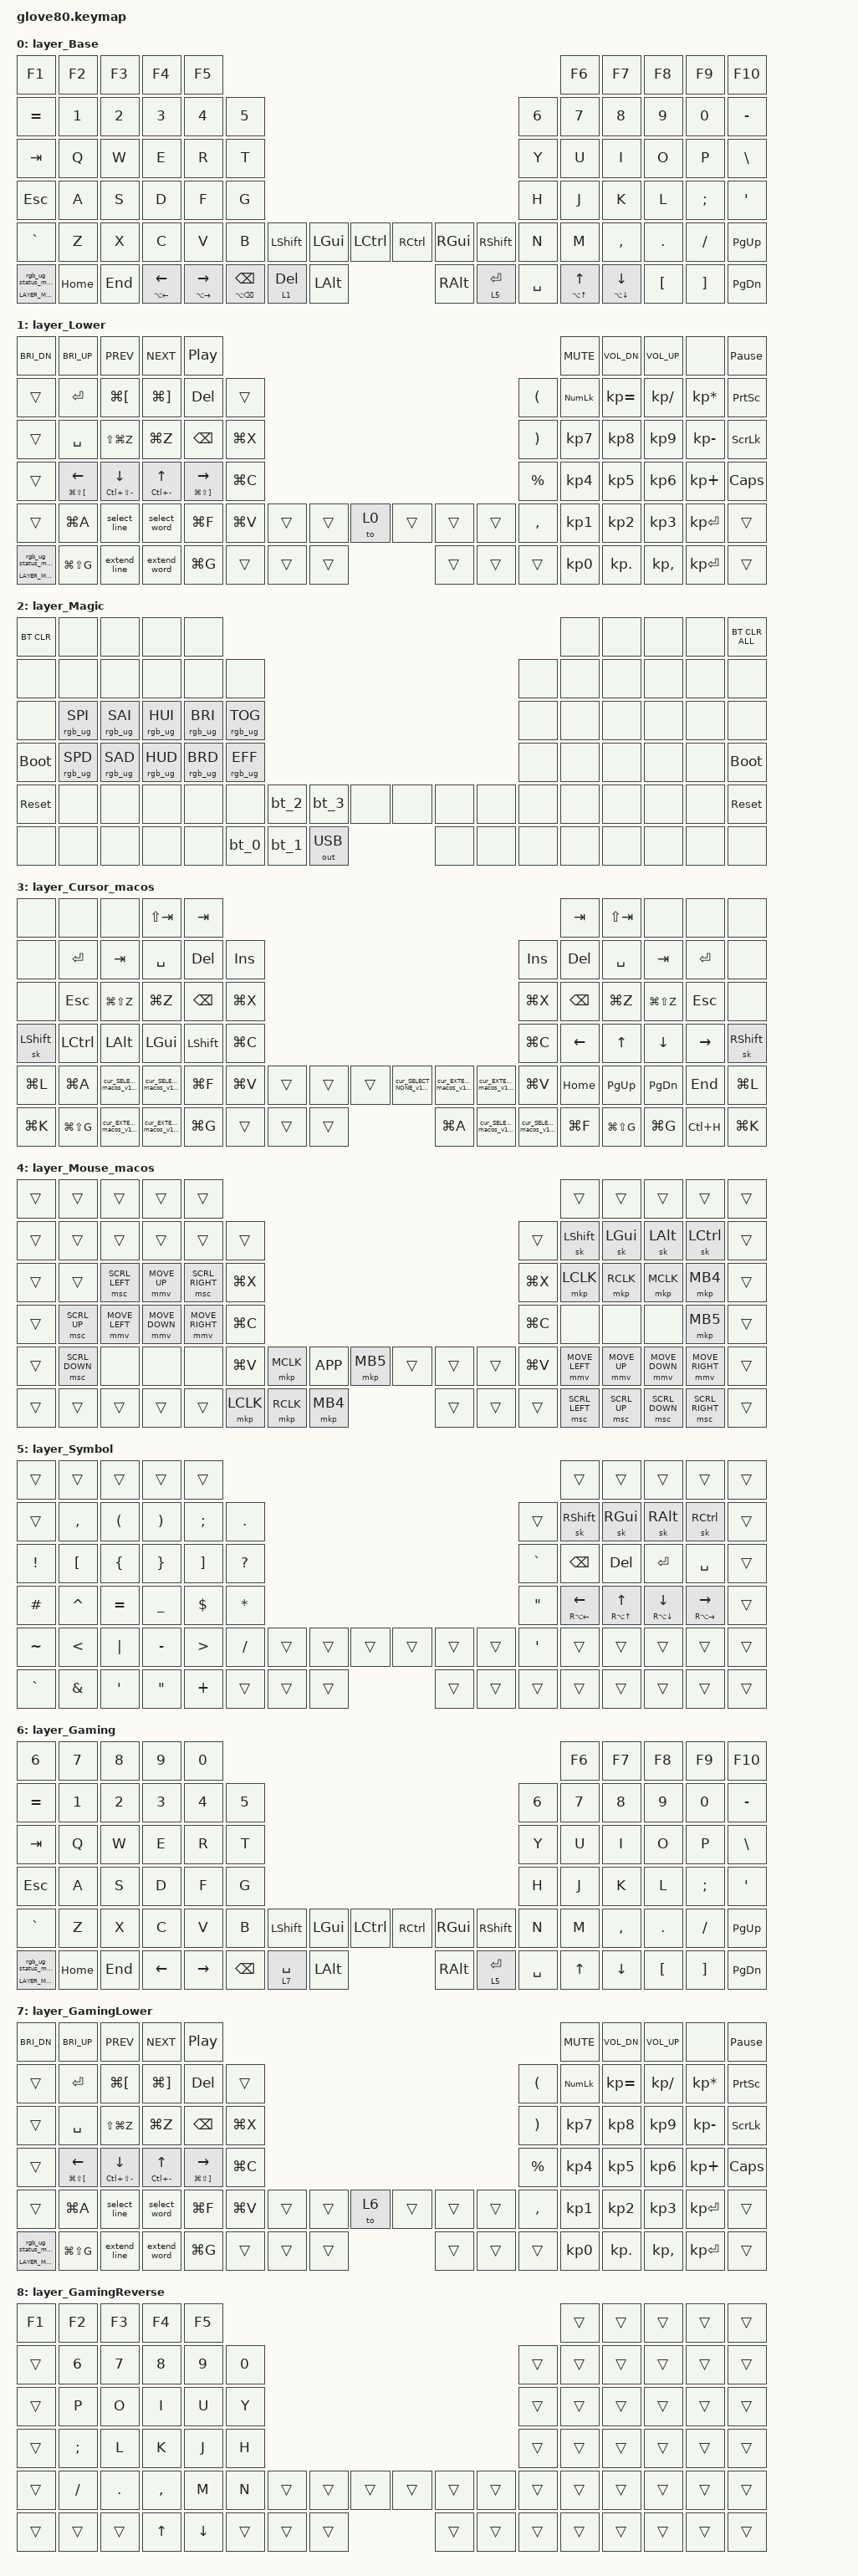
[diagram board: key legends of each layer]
/*
 * Copyright (c) 2020 The ZMK Contributors
 * Copyright (c) 2025 Innaworks Development Limited, trading as MoErgo
 *
 * SPDX-License-Identifier: MIT
 */


/* THIS FILE WAS GENERATED BY GLOVE80 LAYOUT EDITOR
 *
 * This file was generated automatically. You may or may not want to
 * edit it directly.
 */

#include <behaviors.dtsi>
/* Include all behavior includes needed */
#include <dt-bindings/zmk/outputs.h>
#include <dt-bindings/zmk/keys.h>
#include <dt-bindings/zmk/bt.h>
#include <dt-bindings/zmk/rgb.h>

/* On demand includes */
#include <dt-bindings/zmk/pointing.h>

/* Helper Macros, based on https://github.com/urob/zmk-helpers/ */

#pragma once

#define ZMK_HELPER_STRINGIFY(x) #x

// Preprocessor mechanism to overload macros, cf. https://stackoverflow.com/a/27051616/6114651
#define VARGS_(_10, _9, _8, _7, _6, _5, _4, _3, _2, _1, N, ...) N
#define VARGS(...) VARGS_(__VA_ARGS__, 10, 9, 8, 7, 6, 5, 4, 3, 2, 1, 0)
#define CONCAT_(a, b) a##b
#define CONCAT(a, b) CONCAT_(a, b)

#define ZMK_BEHAVIOR_CORE_tap_dance  \
    compatible = "zmk,behavior-tap-dance"; \
    #binding-cells = <0>

#define ZMK_BEHAVIOR(name, type, ...) \
    name: name { \
        ZMK_BEHAVIOR_CORE_ ## type; \
        __VA_ARGS__ \
    };

#define ZMK_TAP_DANCE(name, ...) \
    ZMK_BEHAVIOR(name, tap_dance, __VA_ARGS__)

#define ZMK_TD_LAYER(name, layer) \
    ZMK_TAP_DANCE(name, \
        tapping-term-ms = <200>; \
        bindings = <&mo layer>, <&to layer>; \
)

/* Automatically generated layer name #define */
#define LAYER_Base 0
#define LAYER_Lower 1
#define LAYER_Magic 2
#define LAYER_Cursor_macos 3
#define LAYER_Mouse_macos 4
#define LAYER_Symbol 5
#define LAYER_Gaming 6
#define LAYER_GamingLower 7
#define LAYER_GamingReverse 8

/* To deal with the situation where there is no Lower layer, to keep &lower happy */
#ifndef LAYER_Lower
#define LAYER_Lower 0
#endif

/* Custom Device-tree */
/* Empty underglow layer definition (for copy-paste)
        mylayer {
            bindings = <
                ______ ______ ______ ______ ______                                                          ______ ______ ______ ______ ______
                ______ ______ ______ ______ ______ ______                                            ______ ______ ______ ______ ______ ______
                ______ ______ ______ ______ ______ ______                                            ______ ______ ______ ______ ______ ______
                ______ ______ ______ ______ ______ ______                                            ______ ______ ______ ______ ______ ______
                ______ ______ ______ ______ ______ ______ ______ ______ ______  ______ ______ ______ ______ ______ ______ ______ ______ ______
                ______ ______ ______ ______ ______        ______ ______ ______  ______ ______ ______        ______ ______ ______ ______ ______
                >;
            layer-id = <LAYER_Name>;
        };
*/
#include <dt-bindings/zmk/rgb_colors.h>
/ {
    underglow-layer {
        compatible  = "zmk,underglow-layer";
        //
        // color definitions from QMK
        // https://github.com/qmk/qmk_firmware/blob/master/quantum/color.h
        //
        #define RGB_AZURE     0x99F5FF // #99F5FF
        #define RGB_BLACK     0x000000 // #000000
        #define RGB_GRAY      0x777777 //#777777
        #define RGB_BLUE      0x0000FF //#27274b
        #define RGB_BASE      0x0000FF //#27274b 
        // #define RGB_LBASE     0x4c4c9a //#4c4c9a
        #define RGB_LBASE     0x7A00FF // #7A00FF
        #define RGB_CHARTRSE  0x80FF00 // #80FF00
        #define RGB_CORAL     0xFF7C4D // #FF7C4D
        #define RGB_CYAN      0x00FFFF // #00FFFF
        #define RGB_GOLD      0xFFD900 // #FFD900
        #define RGB_GOLDNROD  0xD9A521 // #D9A521
        #define RGB_GREEN     0x00FF00 // #00FF00
        #define RGB_MAGENTA   0xFF00FF // #FF00FF
        #define RGB_ORANGE    0xFF8000 // #FF8000
        #define RGB_PINK      0xFF80BF // #FF80BF
        #define RGB_PURPLE    0x7A00FF // #7A00FF
        #define RGB_RED       0xFF0000 // #FF0000
        #define RGB_SPRINGRN  0x00FF80 // #00FF80
        #define RGB_TEAL      0x008080 // #008080
        #define RGB_TURQUOIS  0x476E6A // #476E6A
        #define RGB_WHITE     0xFFFFFF // #FFFFFF
        #define RGB_YELLOW    0xFFFF00 // #FFFF00

        //
        // color definitions from MoErgo
        // https://github.com/moergo-sc/zmk/blob/aca523dfce9b6447ffd19d833b791d44f1f286de/app/src/rgb_underglow.c#L259-L265
        //
        #define RGB_DULL_GRN  0x00ff68 // #00ff68
        #define RGB_LILAC     0x6b1fce // #6b1fce

        //
        // underglow for the colors above
        //
        #define AZURE     &ug RGB_AZURE
        #define BLACK     &ug RGB_BLACK
        #define BLUE      &ug RGB_BLUE
        #define CHARTRSE  &ug RGB_CHARTRSE
        #define CORAL     &ug RGB_CORAL
        #define CYAN      &ug RGB_CYAN
        #define GOLD      &ug RGB_GOLD
        #define GOLDNROD  &ug RGB_GOLDNROD
        #define GRAY      &ug RGB_GRAY
        #define GREEN     &ug RGB_GREEN
        #define MAGENTA   &ug RGB_MAGENTA
        #define ORANGE    &ug RGB_ORANGE
        #define PINK      &ug RGB_PINK
        #define PURPLE    &ug RGB_PURPLE
        #define RED       &ug RGB_RED
        #define SPRINGRN  &ug RGB_SPRINGRN
        #define TEAL      &ug RGB_TEAL
        #define TURQUOIS  &ug RGB_TURQUOIS
        #define WHITE     &ug RGB_WHITE
        #define YELLOW    &ug RGB_YELLOW
        #define ________  &ug RGB_BLACK
        #define DULL_GRN  &ug RGB_DULL_GRN
        #define LILAC     &ug RGB_LILAC
        #define BASE      &ug RGB_BASE
        #define LBASE     &ug RGB_LBASE

        //
        // colors for mouse speed scaling in Mouse layers
        //
        #define MSE_FAST GOLD // #FFD900
        #define MSE_WARP CHARTRSE // #80FF00
        #define MSE_SLOW CORAL // #FF7C4D

        #define ARROW ORANGE // #FF8000
        #define NAVIGATE PINK // #FF80BF

        //
        // colors for mouse speed scaling in Mouse layers
        //
        #define SET_MORE &ug 0xFFFF00 // #FFFF00
        #define SET_LESS &ug 0x644d14 // #644d14
        #define SET_NONE GOLD // #FFD900

        #define SET_TOGL &ug 0x00FF00 // #00FF00
        #define SET_NEXT &ug 0x00FFAA // #00FFAA
        #define SET_PREV &ug 0xAAFF00 // #AAFF00
        

        //
        // underglow for keyboard locks on the Base layer
        //
        #define UGSL_BAS &ug_sl RGB_LILAC RGB_ORANGE // ScrollLock COLOR_OFF COLOR_ON
        #define UGNL_BAS &ug_nl RGB_LILAC RGB_ORANGE // NumLock    COLOR_OFF COLOR_ON
        #define UGCL_BAS &ug_cl RGB_LILAC RGB_ORANGE // CapsLock   COLOR_OFF COLOR_ON

        //
        // underglow for keyboard locks on the System layer
        //
        #define UGSL_SYS &ug_sl RGB_BLACK RGB_ORANGE // ScrollLock COLOR_OFF COLOR_ON
        #define UGNL_SYS &ug_nl RGB_BLACK RGB_ORANGE // NumLock    COLOR_OFF COLOR_ON
        #define UGCL_SYS &ug_cl RGB_BLACK RGB_ORANGE // CapsLock   COLOR_OFF COLOR_ON
        
        Base {
            bindings = <
              TURQUOIS TURQUOIS TURQUOIS TURQUOIS TURQUOIS                                                                          TURQUOIS TURQUOIS TURQUOIS TURQUOIS TURQUOIS
              CORAL    CORAL    CORAL    CORAL    CORAL    CORAL                                                           CORAL    CORAL    CORAL    CORAL    CORAL    CORAL   
              WHITE    LBASE    LBASE    LBASE    LBASE    LBASE                                                           LBASE    LBASE    LBASE    LBASE    LBASE    LBASE   
              RED      BASE     BASE     BASE     BASE     LBASE                                                           LBASE    BASE     BASE     BASE     BASE     LBASE   
              LBASE    LBASE    LBASE    LBASE    LBASE    LBASE    YELLOW   MAGENTA  GREEN     GREEN    MAGENTA  YELLOW   LBASE    LBASE    LBASE    LBASE    LBASE    NAVIGATE
              LILAC    NAVIGATE NAVIGATE ARROW    ARROW             RED      RED      CYAN      CYAN     WHITE    WHITE             ARROW    ARROW    LBASE    LBASE    NAVIGATE
            >;
            layer-id = <0>;
        };

        Lower {
            bindings = <
              SET_LESS SET_MORE SET_PREV SET_NEXT SET_TOGL                                                                          SET_NONE SET_LESS SET_MORE ________ LBASE   
              ________ WHITE    LBASE    LBASE    RED      ________                                                        LBASE    UGNL_BAS LBASE    LBASE    LBASE    LBASE   
              ________ WHITE    LBASE    LBASE    RED      CHARTRSE                                                        LBASE    CHARTRSE CHARTRSE CHARTRSE LBASE    UGSL_BAS
              ________ ARROW    ARROW    ARROW    ARROW    CHARTRSE                                                        LBASE    CHARTRSE CHARTRSE CHARTRSE LBASE    UGCL_BAS
              ________ LBASE    LBASE    LBASE    LBASE    CHARTRSE ________ ________ ________  ________ ________ ________ LBASE    CHARTRSE CHARTRSE CHARTRSE WHITE    ________
              LILAC    LBASE    LBASE    LBASE    LBASE             ________ DULL_GRN ________  ________ ________ ________          CHARTRSE LBASE    LBASE    WHITE    ________
            >;
            layer-id = <LAYER_Lower>;
        };

        Symbol {
            bindings = <
              ________ ________ ________ ________ ________                                                                          ________ ________ ________ ________ ________
              ________ CHARTRSE CHARTRSE CHARTRSE CHARTRSE CHARTRSE                                                        ________ YELLOW   MAGENTA  CYAN     GREEN    ________
              CHARTRSE CHARTRSE CHARTRSE CHARTRSE CHARTRSE CHARTRSE                                                        CHARTRSE RED      RED      WHITE    WHITE    ________
              CHARTRSE SPRINGRN SPRINGRN SPRINGRN SPRINGRN CHARTRSE                                                        CHARTRSE ARROW    ARROW    ARROW    ARROW    ________
              CHARTRSE CHARTRSE CHARTRSE CHARTRSE CHARTRSE CHARTRSE ________ ________ ________  ________ ________ ________ CHARTRSE ________ ________ ________ ________ ________
              CHARTRSE CHARTRSE CHARTRSE CHARTRSE CHARTRSE          ________ ________ ________  ________ DULL_GRN ________          ________ ________ ________ ________ ________
            >;
            layer-id = <LAYER_Symbol>;
        };

        Gaming {
            bindings = <
              CORAL    CORAL    CORAL    CORAL    CORAL                                                                             TURQUOIS TURQUOIS TURQUOIS TURQUOIS TURQUOIS
              CORAL    CORAL    CORAL    CORAL    CORAL    CORAL                                                           CORAL    CORAL    CORAL    CORAL    CORAL    CORAL   
              WHITE    LBASE    LBASE    GREEN    LBASE    LBASE                                                           LBASE    LBASE    LBASE    LBASE    LBASE    LBASE   
              RED      BASE     GREEN    GREEN    GREEN    LBASE                                                           LBASE    BASE     BASE     BASE     BASE     LBASE   
              LBASE    LBASE    LBASE    LBASE    LBASE    LBASE    YELLOW   MAGENTA  CYAN      GREEN    MAGENTA  YELLOW   LBASE    LBASE    LBASE    LBASE    LBASE    NAVIGATE
              LILAC    NAVIGATE NAVIGATE ARROW    ARROW             GREEN    WHITE    WHITE     CYAN     WHITE    WHITE             ARROW    ARROW    LBASE    LBASE    NAVIGATE
            >;
            layer-id = <LAYER_Gaming>;
        };

        GamingReverse {
            bindings = <
              TURQUOIS TURQUOIS TURQUOIS TURQUOIS TURQUOIS                                                                          TURQUOIS TURQUOIS TURQUOIS TURQUOIS TURQUOIS
              ________ CORAL    CORAL    CORAL    CORAL    CORAL                                                           CORAL    CORAL    CORAL    CORAL    CORAL    CORAL   
              ________ LBASE    LBASE    LBASE    LBASE    LBASE                                                           LBASE    LBASE    LBASE    LBASE    LBASE    LBASE   
              ________ BASE     BASE     BASE     BASE     LBASE                                                           LBASE    BASE     BASE     BASE     BASE     LBASE   
              ________ LBASE    LBASE    LBASE    LBASE    LBASE    ________ ________ ________  GREEN    MAGENTA  YELLOW   LBASE    LBASE    LBASE    LBASE    LBASE    NAVIGATE
              ________ NAVIGATE NAVIGATE DULL_GRN DULL_GRN          ________ ________ ________  CYAN     WHITE    WHITE             ARROW    ARROW    LBASE    LBASE    NAVIGATE
            >;
            layer-id = <LAYER_GamingReverse>;
        };

        GamingLower {
            bindings = <
              SET_LESS SET_MORE SET_PREV SET_NEXT SET_TOGL                                                                          SET_NONE SET_LESS SET_MORE ________ LBASE   
              ________ WHITE    LBASE    LBASE    RED      ________                                                        LBASE    UGNL_BAS LBASE    LBASE    LBASE    LBASE   
              ________ WHITE    LBASE    LBASE    RED      CHARTRSE                                                        LBASE    CHARTRSE CHARTRSE CHARTRSE LBASE    UGSL_BAS
              ________ ARROW    ARROW    ARROW    ARROW    CHARTRSE                                                        LBASE    CHARTRSE CHARTRSE CHARTRSE LBASE    UGCL_BAS
              ________ LBASE    LBASE    LBASE    LBASE    CHARTRSE ________ ________ ________  ________ ________ ________ LBASE    CHARTRSE CHARTRSE CHARTRSE WHITE    ________
              LILAC    LBASE    LBASE    LBASE    LBASE             ________ DULL_GRN ________  ________ ________ ________          CHARTRSE LBASE    LBASE    WHITE    ________
            >;
            layer-id = <LAYER_GamingLower>;
        };
    };
};

/* Input Listeners */


/* System behavior and Macros */
/ {
    behaviors {
        ZMK_TD_LAYER(lower, LAYER_Lower)
    };
};

/ {
    macros {
        rgb_ug_status_macro: rgb_ug_status_macro {
            label = "RGB_UG_STATUS";
            compatible = "zmk,behavior-macro";
            #binding-cells = <0>;
            bindings
                = <&rgb_ug RGB_STATUS>;
        };
    };
};


/ {
#ifdef BT_DISC_CMD
    behaviors {
        bt_0: bt_0 {
            compatible = "zmk,behavior-tap-dance";
            label = "BT_0";
            #binding-cells = <0>;
            tapping-term-ms = <200>;
            bindings = <&bt_select_0>, <&bt BT_DISC 0>;
        };
        bt_1: bt_1 {
            compatible = "zmk,behavior-tap-dance";
            label = "BT_1";
            #binding-cells = <0>;
            tapping-term-ms = <200>;
            bindings = <&bt_select_1>, <&bt BT_DISC 1>;
        };
        bt_2: bt_2 {
            compatible = "zmk,behavior-tap-dance";
            label = "BT_2";
            #binding-cells = <0>;
            tapping-term-ms = <200>;
            bindings = <&bt_select_2>, <&bt BT_DISC 2>;
        };
        bt_3: bt_3 {
            compatible = "zmk,behavior-tap-dance";
            label = "BT_3";
            #binding-cells = <0>;
            tapping-term-ms = <200>;
            bindings = <&bt_select_3>, <&bt BT_DISC 3>;
        };
    };
    macros {
        bt_select_0: bt_select_0 {
            label = "BT_SELECT_0";
            compatible = "zmk,behavior-macro";
            #binding-cells = <0>;
            bindings
                = <&out OUT_BLE>,
                  <&bt BT_SEL 0>;
        };
        bt_select_1: bt_select_1 {
            label = "BT_SELECT_1";
            compatible = "zmk,behavior-macro";
            #binding-cells = <0>;
            bindings
                = <&out OUT_BLE>,
                  <&bt BT_SEL 1>;
        };
        bt_select_2: bt_select_2 {
            label = "BT_SELECT_2";
            compatible = "zmk,behavior-macro";
            #binding-cells = <0>;
            bindings
                = <&out OUT_BLE>,
                  <&bt BT_SEL 2>;
        };
        bt_select_3: bt_select_3 {
            label = "BT_SELECT_3";
            compatible = "zmk,behavior-macro";
            #binding-cells = <0>;
            bindings
                = <&out OUT_BLE>,
                  <&bt BT_SEL 3>;
        };
    };
#else
    macros {
        bt_0: bt_0 {
            label = "BT_0";
            compatible = "zmk,behavior-macro";
            #binding-cells = <0>;
            bindings
                = <&out OUT_BLE>,
                  <&bt BT_SEL 0>;
        };
        bt_1: bt_1 {
            label = "BT_1";
            compatible = "zmk,behavior-macro";
            #binding-cells = <0>;
            bindings
                = <&out OUT_BLE>,
                  <&bt BT_SEL 1>;
        };
        bt_2: bt_2 {
            label = "BT_2";
            compatible = "zmk,behavior-macro";
            #binding-cells = <0>;
            bindings
                = <&out OUT_BLE>,
                  <&bt BT_SEL 2>;
        };
        bt_3: bt_3 {
            label = "BT_3";
            compatible = "zmk,behavior-macro";
            #binding-cells = <0>;
            bindings
                = <&out OUT_BLE>,
                  <&bt BT_SEL 3>;
        };
    };
#endif
};

/ {
    behaviors {
        magic: magic {
            compatible = "zmk,behavior-hold-tap";
            label = "MAGIC_HOLD_TAP";
            #binding-cells = <2>;
            flavor = "tap-preferred";
            tapping-term-ms = <200>;
            bindings = <&mo>, <&rgb_ug_status_macro>;
        };
    };
};

/* #define for key positions */
#define POS_LH_T1 52
#define POS_LH_T2 53
#define POS_LH_T3 54
#define POS_LH_T4 69
#define POS_LH_T5 70
#define POS_LH_T6 71
#define POS_LH_C1R2 15
#define POS_LH_C1R3 27
#define POS_LH_C1R4 39
#define POS_LH_C1R5 51
#define POS_LH_C2R1 4
#define POS_LH_C2R2 14
#define POS_LH_C2R3 26
#define POS_LH_C2R4 38
#define POS_LH_C2R5 50
#define POS_LH_C2R6 68
#define POS_LH_C3R1 3
#define POS_LH_C3R2 13
#define POS_LH_C3R3 25
#define POS_LH_C3R4 37
#define POS_LH_C3R5 49
#define POS_LH_C3R6 67
#define POS_LH_C4R1 2
#define POS_LH_C4R2 12
#define POS_LH_C4R3 24
#define POS_LH_C4R4 36
#define POS_LH_C4R5 48
#define POS_LH_C4R6 66
#define POS_LH_C5R1 1
#define POS_LH_C5R2 11
#define POS_LH_C5R3 23
#define POS_LH_C5R4 35
#define POS_LH_C5R5 47
#define POS_LH_C5R6 65
#define POS_LH_C6R1 0
#define POS_LH_C6R2 10
#define POS_LH_C6R3 22
#define POS_LH_C6R4 34
#define POS_LH_C6R5 46
#define POS_LH_C6R6 64
#define POS_RH_T1 57
#define POS_RH_T2 56
#define POS_RH_T3 55
#define POS_RH_T4 74
#define POS_RH_T5 73
#define POS_RH_T6 72
#define POS_RH_C1R2 16
#define POS_RH_C1R3 28
#define POS_RH_C1R4 40
#define POS_RH_C1R5 58
#define POS_RH_C2R1 5
#define POS_RH_C2R2 17
#define POS_RH_C2R3 29
#define POS_RH_C2R4 41
#define POS_RH_C2R5 59
#define POS_RH_C2R6 75
#define POS_RH_C3R1 6
#define POS_RH_C3R2 18
#define POS_RH_C3R3 30
#define POS_RH_C3R4 42
#define POS_RH_C3R5 60
#define POS_RH_C3R6 76
#define POS_RH_C4R1 7
#define POS_RH_C4R2 19
#define POS_RH_C4R3 31
#define POS_RH_C4R4 43
#define POS_RH_C4R5 61
#define POS_RH_C4R6 77
#define POS_RH_C5R1 8
#define POS_RH_C5R2 20
#define POS_RH_C5R3 32
#define POS_RH_C5R4 44
#define POS_RH_C5R5 62
#define POS_RH_C5R6 78
#define POS_RH_C6R1 9
#define POS_RH_C6R2 21
#define POS_RH_C6R3 33
#define POS_RH_C6R4 45
#define POS_RH_C6R5 63
#define POS_RH_C6R6 79

/* Custom Defined Behaviors */
/ {
#ifndef OPERATING_SYSTEM
#define OPERATING_SYSTEM 'M' // macos
//#define OPERATING_SYSTEM 'W' // windows
#endif
#if OPERATING_SYSTEM == 'M'
  #define _C      LG
  #define _A_TAB  LGUI
  #define _G_TAB  LALT
  #define _REDO   _C(LS(Z))
  #define _POWER  K_POWER
  #define _W      LA
  #define _HOME   _C(LEFT)
  #define _END    _C(RIGHT)
  #define _EMOJI  LG(LC(SPACE))
#else
  #define _C      LC
  #define _A_TAB  LALT
  #define _G_TAB  LGUI
  #define _REDO   _C(Y)
  #define _POWER  C_POWER
  #define _W      _C
  #define _HOME   HOME
  #define _END    END
  #define _EMOJI  LG(DOT)
#endif
#define _SLEEP      C_SLEEP
#if OPERATING_SYSTEM == 'W'
  #define _LOCK   LG(L)
#elif OPERATING_SYSTEM == 'M'
  #define _LOCK   _C(LC(Q))
#elif OPERATING_SYSTEM == 'L'
  #define _LOCK   K_LOCK
#endif
#define _UNDO       _C(Z)
#define _CUT        _C(X)
#define _COPY       _C(C)
#define _PASTE      _C(V)
#define _FIND       _C(F)
#define _FIND_NEXT  _C(G)
#define _FIND_PREV  _C(LS(G))

//
// USE_NUMPAD_KEYCODES puts `KP_*` keycodes into the Number layer.
//
#ifdef USE_NUMPAD_KEYCODES
#define _KP_N0 KP_N0
#define _KP_N1 KP_N1
#define _KP_N2 KP_N2
#define _KP_N3 KP_N3
#define _KP_N4 KP_N4
#define _KP_N5 KP_N5
#define _KP_N6 KP_N6
#define _KP_N7 KP_N7
#define _KP_N8 KP_N8
#define _KP_N9 KP_N9
#define _KP_PLUS KP_PLUS
#define _KP_MINUS KP_MINUS
#define _KP_ASTERISK KP_ASTERISK
#define _KP_SLASH KP_SLASH
#define _KP_COMMA KP_COMMA
#define _KP_DOT KP_DOT
#define _KP_EQUAL KP_EQUAL
#define _KP_ENTER KP_ENTER
#else
#define _KP_N0 N0
#define _KP_N1 N1
#define _KP_N2 N2
#define _KP_N3 N3
#define _KP_N4 N4
#define _KP_N5 N5
#define _KP_N6 N6
#define _KP_N7 N7
#define _KP_N8 N8
#define _KP_N9 N9
#define _KP_PLUS PLUS
#define _KP_MINUS MINUS
#define _KP_ASTERISK ASTERISK
#define _KP_SLASH SLASH
#define _KP_COMMA COMMA
#define _KP_DOT DOT
#define _KP_EQUAL EQUAL
#define _KP_ENTER ENTER
#endif

//
// Keymap specific knowledge of the base layer's alpha + ZMK layout
//
#if defined(LAYER_Enthium) && LAYER_Enthium == 0
#define KEY_LH_C6R1 HOME
#define KEY_LH_C5R1 END
#define KEY_LH_C4R1 A
#define KEY_LH_C3R1 B
#define KEY_LH_C2R1 C
#define KEY_RH_C2R1 D
#define KEY_RH_C3R1 E
#define KEY_RH_C4R1 F
#define KEY_RH_C5R1 LEFT
#define KEY_RH_C6R1 RIGHT
#define KEY_LH_C6R2 PG_UP
#define KEY_LH_C5R2 N1
#define KEY_LH_C4R2 N2
#define KEY_LH_C3R2 N3
#define KEY_LH_C2R2 N4
#define KEY_LH_C1R2 N5
#define KEY_RH_C1R2 N6
#define KEY_RH_C2R2 N7
#define KEY_RH_C3R2 N8
#define KEY_RH_C4R2 N9
#define KEY_RH_C5R2 N0
#define KEY_RH_C6R2 UP
#define KEY_LH_C6R3 PG_DN
#define KEY_LH_C5R3 B
#define KEY_LH_C4R3 Y
#define KEY_LH_C3R3 O
#define KEY_LH_C2R3 U
#define KEY_LH_C1R3 SEMI
#define KEY_RH_C1R3 X
#define KEY_RH_C2R3 L
#define KEY_RH_C3R3 D
#define KEY_RH_C4R3 W
#define KEY_RH_C5R3 V
#define KEY_RH_C6R3 DOWN
#define KEY_LH_C6R4 Z
#define KEY_LH_C5R4 C
#define KEY_LH_C4R4 I
#define KEY_LH_C3R4 E
#define KEY_LH_C2R4 A
#define KEY_LH_C1R4 COMMA
#define KEY_RH_C1R4 K
#define KEY_RH_C2R4 H
#define KEY_RH_C3R4 T
#define KEY_RH_C4R4 N
#define KEY_RH_C5R4 S
#define KEY_RH_C6R4 Q
#define KEY_LH_C6R5 LSFT
#define KEY_LH_C5R5 SQT
#define KEY_LH_C4R5 MINUS
#define KEY_LH_C3R5 EQUAL
#define KEY_LH_C2R5 DOT
#define KEY_LH_C1R5 FSLH
#define KEY_LH_T1 ESC
#define KEY_LH_T2 INSERT
#define KEY_LH_T3 0
#define KEY_RH_T3 0
#define KEY_RH_T2 DELETE
#define KEY_RH_T1 ENTER
#define KEY_RH_C1R5 J
#define KEY_RH_C2R5 M
#define KEY_RH_C3R5 G
#define KEY_RH_C4R5 P
#define KEY_RH_C5R5 F
#define KEY_RH_C6R5 RSFT
#define KEY_LH_C6R6 0
#define KEY_LH_C5R6 GRAVE
#define KEY_LH_C4R6 LBKT
#define KEY_LH_C3R6 RBKT
#define KEY_LH_C2R6 LSFT
#define KEY_LH_T4 SPACE
#define KEY_LH_T5 TAB
#define KEY_LH_T6 0
#define KEY_RH_T6 0
#define KEY_RH_T5 BACKSPACE
#define KEY_RH_T4 R
#define KEY_RH_C2R6 RSFT
#define KEY_RH_C3R6 LPAR
#define KEY_RH_C4R6 RPAR
#define KEY_RH_C5R6 BSLH
#define KEY_RH_C6R6 0
#endif
#if defined(LAYER_Engrammer) && LAYER_Engrammer == 0
#define KEY_LH_C6R1 UP
#define KEY_LH_C5R1 DOWN
#define KEY_LH_C4R1 A
#define KEY_LH_C3R1 B
#define KEY_LH_C2R1 C
#define KEY_RH_C2R1 D
#define KEY_RH_C3R1 E
#define KEY_RH_C4R1 F
#define KEY_RH_C5R1 LEFT
#define KEY_RH_C6R1 RIGHT
#define KEY_LH_C6R2 EQUAL
#define KEY_LH_C5R2 N1
#define KEY_LH_C4R2 N2
#define KEY_LH_C3R2 N3
#define KEY_LH_C2R2 N4
#define KEY_LH_C1R2 N5
#define KEY_RH_C1R2 N6
#define KEY_RH_C2R2 N7
#define KEY_RH_C3R2 N8
#define KEY_RH_C4R2 N9
#define KEY_RH_C5R2 N0
#define KEY_RH_C6R2 BSLH
#define KEY_LH_C6R3 GRAVE
#define KEY_LH_C5R3 B
#define KEY_LH_C4R3 Y
#define KEY_LH_C3R3 O
#define KEY_LH_C2R3 U
#define KEY_LH_C1R3 SQT
#define KEY_RH_C1R3 SEMI
#define KEY_RH_C2R3 L
#define KEY_RH_C3R3 D
#define KEY_RH_C4R3 W
#define KEY_RH_C5R3 V
#define KEY_RH_C6R3 Z
#define KEY_LH_C6R4 Z
#define KEY_LH_C5R4 C
#define KEY_LH_C4R4 I
#define KEY_LH_C3R4 E
#define KEY_LH_C2R4 A
#define KEY_LH_C1R4 COMMA
#define KEY_RH_C1R4 DOT
#define KEY_RH_C2R4 H
#define KEY_RH_C3R4 T
#define KEY_RH_C4R4 S
#define KEY_RH_C5R4 N
#define KEY_RH_C6R4 Q
#define KEY_LH_C6R5 LSFT
#define KEY_LH_C5R5 G
#define KEY_LH_C4R5 X
#define KEY_LH_C3R5 J
#define KEY_LH_C2R5 K
#define KEY_LH_C1R5 MINUS
#define KEY_LH_T1 ESC
#define KEY_LH_T2 K_APP
#define KEY_LH_T3 0
#define KEY_RH_T3 0
#define KEY_RH_T2 INSERT
#define KEY_RH_T1 ENTER
#define KEY_RH_C1R5 FSLH
#define KEY_RH_C2R5 R
#define KEY_RH_C3R5 M
#define KEY_RH_C4R5 F
#define KEY_RH_C5R5 P
#define KEY_RH_C6R5 RSFT
#define KEY_LH_C6R6 0
#define KEY_LH_C5R6 GRAVE
#define KEY_LH_C4R6 LBKT
#define KEY_LH_C3R6 RBKT
#define KEY_LH_C2R6 LSFT
#define KEY_LH_T4 BACKSPACE
#define KEY_LH_T5 DELETE
#define KEY_LH_T6 0
#define KEY_RH_T6 0
#define KEY_RH_T5 TAB
#define KEY_RH_T4 SPACE
#define KEY_RH_C2R6 RSFT
#define KEY_RH_C3R6 LPAR
#define KEY_RH_C4R6 RPAR
#define KEY_RH_C5R6 BSLH
#define KEY_RH_C6R6 0
#endif
#if defined(LAYER_Engram) && LAYER_Engram == 0
#define KEY_LH_C6R1 UP
#define KEY_LH_C5R1 DOWN
#define KEY_LH_C4R1 A
#define KEY_LH_C3R1 B
#define KEY_LH_C2R1 C
#define KEY_RH_C2R1 D
#define KEY_RH_C3R1 E
#define KEY_RH_C4R1 F
#define KEY_RH_C5R1 LEFT
#define KEY_RH_C6R1 RIGHT
#define KEY_LH_C6R2 LBKT
#define KEY_LH_C5R2 N1
#define KEY_LH_C4R2 N2
#define KEY_LH_C3R2 N3
#define KEY_LH_C2R2 N4
#define KEY_LH_C1R2 N5
#define KEY_RH_C1R2 N6
#define KEY_RH_C2R2 N7
#define KEY_RH_C3R2 N8
#define KEY_RH_C4R2 N9
#define KEY_RH_C5R2 N0
#define KEY_RH_C6R2 RBKT
#define KEY_LH_C6R3 HASH
#define KEY_LH_C5R3 B
#define KEY_LH_C4R3 Y
#define KEY_LH_C3R3 O
#define KEY_LH_C2R3 U
#define KEY_LH_C1R3 SQT
#define KEY_RH_C1R3 DQT
#define KEY_RH_C2R3 L
#define KEY_RH_C3R3 D
#define KEY_RH_C4R3 W
#define KEY_RH_C5R3 V
#define KEY_RH_C6R3 Z
#define KEY_LH_C6R4 Z
#define KEY_LH_C5R4 C
#define KEY_LH_C4R4 I
#define KEY_LH_C3R4 E
#define KEY_LH_C2R4 A
#define KEY_LH_C1R4 COMMA
#define KEY_RH_C1R4 DOT
#define KEY_RH_C2R4 H
#define KEY_RH_C3R4 T
#define KEY_RH_C4R4 S
#define KEY_RH_C5R4 N
#define KEY_RH_C6R4 Q
#define KEY_LH_C6R5 LSFT
#define KEY_LH_C5R5 G
#define KEY_LH_C4R5 X
#define KEY_LH_C3R5 J
#define KEY_LH_C2R5 K
#define KEY_LH_C1R5 MINUS
#define KEY_LH_T1 ESC
#define KEY_LH_T2 K_APP
#define KEY_LH_T3 0
#define KEY_RH_T3 0
#define KEY_RH_T2 INSERT
#define KEY_RH_T1 ENTER
#define KEY_RH_C1R5 QMARK
#define KEY_RH_C2R5 R
#define KEY_RH_C3R5 M
#define KEY_RH_C4R5 F
#define KEY_RH_C5R5 P
#define KEY_RH_C6R5 RSFT
#define KEY_LH_C6R6 0
#define KEY_LH_C5R6 AT
#define KEY_LH_C4R6 LBKT
#define KEY_LH_C3R6 RBKT
#define KEY_LH_C2R6 LSFT
#define KEY_LH_T4 BACKSPACE
#define KEY_LH_T5 DELETE
#define KEY_LH_T6 0
#define KEY_RH_T6 0
#define KEY_RH_T5 TAB
#define KEY_RH_T4 SPACE
#define KEY_RH_C2R6 RSFT
#define KEY_RH_C3R6 LPAR
#define KEY_RH_C4R6 RPAR
#define KEY_RH_C5R6 FSLH
#define KEY_RH_C6R6 0
#endif
#if defined(LAYER_Dvorak) && LAYER_Dvorak == 0
#define KEY_LH_C6R1 UP
#define KEY_LH_C5R1 DOWN
#define KEY_LH_C4R1 A
#define KEY_LH_C3R1 B
#define KEY_LH_C2R1 C
#define KEY_RH_C2R1 D
#define KEY_RH_C3R1 E
#define KEY_RH_C4R1 F
#define KEY_RH_C5R1 LEFT
#define KEY_RH_C6R1 RIGHT
#define KEY_LH_C6R2 EQUAL
#define KEY_LH_C5R2 N1
#define KEY_LH_C4R2 N2
#define KEY_LH_C3R2 N3
#define KEY_LH_C2R2 N4
#define KEY_LH_C1R2 N5
#define KEY_RH_C1R2 N6
#define KEY_RH_C2R2 N7
#define KEY_RH_C3R2 N8
#define KEY_RH_C4R2 N9
#define KEY_RH_C5R2 N0
#define KEY_RH_C6R2 BSLH
#define KEY_LH_C6R3 TAB
#define KEY_LH_C5R3 SQT
#define KEY_LH_C4R3 COMMA
#define KEY_LH_C3R3 DOT
#define KEY_LH_C2R3 P
#define KEY_LH_C1R3 Y
#define KEY_RH_C1R3 F
#define KEY_RH_C2R3 G
#define KEY_RH_C3R3 C
#define KEY_RH_C4R3 R
#define KEY_RH_C5R3 L
#define KEY_RH_C6R3 SLASH
#define KEY_LH_C6R4 CAPS
#define KEY_LH_C5R4 A
#define KEY_LH_C4R4 O
#define KEY_LH_C3R4 E
#define KEY_LH_C2R4 U
#define KEY_LH_C1R4 I
#define KEY_RH_C1R4 D
#define KEY_RH_C2R4 H
#define KEY_RH_C3R4 T
#define KEY_RH_C4R4 N
#define KEY_RH_C5R4 S
#define KEY_RH_C6R4 MINUS
#define KEY_LH_C6R5 LSFT
#define KEY_LH_C5R5 SEMI
#define KEY_LH_C4R5 Q
#define KEY_LH_C3R5 J
#define KEY_LH_C2R5 K
#define KEY_LH_C1R5 X
#define KEY_LH_T1 ESC
#define KEY_LH_T2 K_APP
#define KEY_LH_T3 0
#define KEY_RH_T3 0
#define KEY_RH_T2 INSERT
#define KEY_RH_T1 ENTER
#define KEY_RH_C1R5 B
#define KEY_RH_C2R5 M
#define KEY_RH_C3R5 W
#define KEY_RH_C4R5 V
#define KEY_RH_C5R5 Z
#define KEY_RH_C6R5 RSFT
#define KEY_LH_C6R6 0
#define KEY_LH_C5R6 GRAVE
#define KEY_LH_C4R6 LBKT
#define KEY_LH_C3R6 RBKT
#define KEY_LH_C2R6 LSFT
#define KEY_LH_T4 BACKSPACE
#define KEY_LH_T5 DELETE
#define KEY_LH_T6 0
#define KEY_RH_T6 0
#define KEY_RH_T5 TAB
#define KEY_RH_T4 SPACE
#define KEY_RH_C2R6 RSFT
#define KEY_RH_C3R6 LPAR
#define KEY_RH_C4R6 RPAR
#define KEY_RH_C5R6 BSLH
#define KEY_RH_C6R6 0
#endif
#if defined(LAYER_Colemak) && LAYER_Colemak == 0
#define KEY_LH_C6R1 UP
#define KEY_LH_C5R1 DOWN
#define KEY_LH_C4R1 A
#define KEY_LH_C3R1 B
#define KEY_LH_C2R1 C
#define KEY_RH_C2R1 D
#define KEY_RH_C3R1 E
#define KEY_RH_C4R1 F
#define KEY_RH_C5R1 LEFT
#define KEY_RH_C6R1 RIGHT
#define KEY_LH_C6R2 EQUAL
#define KEY_LH_C5R2 N1
#define KEY_LH_C4R2 N2
#define KEY_LH_C3R2 N3
#define KEY_LH_C2R2 N4
#define KEY_LH_C1R2 N5
#define KEY_RH_C1R2 N6
#define KEY_RH_C2R2 N7
#define KEY_RH_C3R2 N8
#define KEY_RH_C4R2 N9
#define KEY_RH_C5R2 N0
#define KEY_RH_C6R2 BSLH
#define KEY_LH_C6R3 GRAVE
#define KEY_LH_C5R3 Q
#define KEY_LH_C4R3 W
#define KEY_LH_C3R3 F
#define KEY_LH_C2R3 P
#define KEY_LH_C1R3 G
#define KEY_RH_C1R3 J
#define KEY_RH_C2R3 L
#define KEY_RH_C3R3 U
#define KEY_RH_C4R3 Y
#define KEY_RH_C5R3 SEMI
#define KEY_RH_C6R3 MINUS
#define KEY_LH_C6R4 CAPS
#define KEY_LH_C5R4 A
#define KEY_LH_C4R4 R
#define KEY_LH_C3R4 S
#define KEY_LH_C2R4 T
#define KEY_LH_C1R4 D
#define KEY_RH_C1R4 H
#define KEY_RH_C2R4 N
#define KEY_RH_C3R4 E
#define KEY_RH_C4R4 I
#define KEY_RH_C5R4 O
#define KEY_RH_C6R4 SQT
#define KEY_LH_C6R5 LSFT
#define KEY_LH_C5R5 Z
#define KEY_LH_C4R5 X
#define KEY_LH_C3R5 C
#define KEY_LH_C2R5 V
#define KEY_LH_C1R5 B
#define KEY_LH_T1 ESC
#define KEY_LH_T2 K_APP
#define KEY_LH_T3 0
#define KEY_RH_T3 0
#define KEY_RH_T2 INSERT
#define KEY_RH_T1 ENTER
#define KEY_RH_C1R5 K
#define KEY_RH_C2R5 M
#define KEY_RH_C3R5 COMMA
#define KEY_RH_C4R5 DOT
#define KEY_RH_C5R5 FSLH
#define KEY_RH_C6R5 RSFT
#define KEY_LH_C6R6 0
#define KEY_LH_C5R6 GRAVE
#define KEY_LH_C4R6 LBKT
#define KEY_LH_C3R6 RBKT
#define KEY_LH_C2R6 LSFT
#define KEY_LH_T4 BACKSPACE
#define KEY_LH_T5 DELETE
#define KEY_LH_T6 0
#define KEY_RH_T6 0
#define KEY_RH_T5 TAB
#define KEY_RH_T4 SPACE
#define KEY_RH_C2R6 RSFT
#define KEY_RH_C3R6 LPAR
#define KEY_RH_C4R6 RPAR
#define KEY_RH_C5R6 BSLH
#define KEY_RH_C6R6 0
#endif
#if defined(LAYER_QWERTY) && LAYER_QWERTY == 0
#define KEY_LH_C6R1 UP
#define KEY_LH_C5R1 DOWN
#define KEY_LH_C4R1 A
#define KEY_LH_C3R1 B
#define KEY_LH_C2R1 C
#define KEY_RH_C2R1 D
#define KEY_RH_C3R1 E
#define KEY_RH_C4R1 F
#define KEY_RH_C5R1 LEFT
#define KEY_RH_C6R1 RIGHT
#define KEY_LH_C6R2 EQUAL
#define KEY_LH_C5R2 N1
#define KEY_LH_C4R2 N2
#define KEY_LH_C3R2 N3
#define KEY_LH_C2R2 N4
#define KEY_LH_C1R2 N5
#define KEY_RH_C1R2 N6
#define KEY_RH_C2R2 N7
#define KEY_RH_C3R2 N8
#define KEY_RH_C4R2 N9
#define KEY_RH_C5R2 N0
#define KEY_RH_C6R2 MINUS
#define KEY_LH_C6R3 TAB
#define KEY_LH_C5R3 Q
#define KEY_LH_C4R3 W
#define KEY_LH_C3R3 E
#define KEY_LH_C2R3 R
#define KEY_LH_C1R3 T
#define KEY_RH_C1R3 Y
#define KEY_RH_C2R3 U
#define KEY_RH_C3R3 I
#define KEY_RH_C4R3 O
#define KEY_RH_C5R3 P
#define KEY_RH_C6R3 BSLH
#define KEY_LH_C6R4 CAPS
#define KEY_LH_C5R4 A
#define KEY_LH_C4R4 S
#define KEY_LH_C3R4 D
#define KEY_LH_C2R4 F
#define KEY_LH_C1R4 G
#define KEY_RH_C1R4 H
#define KEY_RH_C2R4 J
#define KEY_RH_C3R4 K
#define KEY_RH_C4R4 L
#define KEY_RH_C5R4 SEMI
#define KEY_RH_C6R4 SQT
#define KEY_LH_C6R5 LSFT
#define KEY_LH_C5R5 Z
#define KEY_LH_C4R5 X
#define KEY_LH_C3R5 C
#define KEY_LH_C2R5 V
#define KEY_LH_C1R5 B
#define KEY_LH_T1 ESC
#define KEY_LH_T2 K_APP
#define KEY_LH_T3 0
#define KEY_RH_T3 0
#define KEY_RH_T2 INSERT
#define KEY_RH_T1 ENTER
#define KEY_RH_C1R5 N
#define KEY_RH_C2R5 M
#define KEY_RH_C3R5 COMMA
#define KEY_RH_C4R5 DOT
#define KEY_RH_C5R5 FSLH
#define KEY_RH_C6R5 RSFT
#define KEY_LH_C6R6 0
#define KEY_LH_C5R6 GRAVE
#define KEY_LH_C4R6 LBKT
#define KEY_LH_C3R6 RBKT
#define KEY_LH_C2R6 LSFT
#define KEY_LH_T4 BACKSPACE
#define KEY_LH_T5 DELETE
#define KEY_LH_T6 0
#define KEY_RH_T6 0
#define KEY_RH_T5 TAB
#define KEY_RH_T4 SPACE
#define KEY_RH_C2R6 RSFT
#define KEY_RH_C3R6 LPAR
#define KEY_RH_C4R6 RPAR
#define KEY_RH_C5R6 BSLH
#define KEY_RH_C6R6 0
#endif
#if defined(LAYER_ColemakDH) && LAYER_ColemakDH == 0
#define KEY_LH_C6R1 UP
#define KEY_LH_C5R1 DOWN
#define KEY_LH_C4R1 A
#define KEY_LH_C3R1 B
#define KEY_LH_C2R1 C
#define KEY_RH_C2R1 D
#define KEY_RH_C3R1 E
#define KEY_RH_C4R1 F
#define KEY_RH_C5R1 LEFT
#define KEY_RH_C6R1 RIGHT
#define KEY_LH_C6R2 EQUAL
#define KEY_LH_C5R2 N1
#define KEY_LH_C4R2 N2
#define KEY_LH_C3R2 N3
#define KEY_LH_C2R2 N4
#define KEY_LH_C1R2 N5
#define KEY_RH_C1R2 N6
#define KEY_RH_C2R2 N7
#define KEY_RH_C3R2 N8
#define KEY_RH_C4R2 N9
#define KEY_RH_C5R2 N0
#define KEY_RH_C6R2 MINUS
#define KEY_LH_C6R3 TAB
#define KEY_LH_C5R3 Q
#define KEY_LH_C4R3 W
#define KEY_LH_C3R3 F
#define KEY_LH_C2R3 P
#define KEY_LH_C1R3 B
#define KEY_RH_C1R3 J
#define KEY_RH_C2R3 L
#define KEY_RH_C3R3 U
#define KEY_RH_C4R3 Y
#define KEY_RH_C5R3 SEMI
#define KEY_RH_C6R3 BSLH
#define KEY_LH_C6R4 CAPS
#define KEY_LH_C5R4 A
#define KEY_LH_C4R4 R
#define KEY_LH_C3R4 S
#define KEY_LH_C2R4 T
#define KEY_LH_C1R4 G
#define KEY_RH_C1R4 M
#define KEY_RH_C2R4 N
#define KEY_RH_C3R4 E
#define KEY_RH_C4R4 I
#define KEY_RH_C5R4 O
#define KEY_RH_C6R4 SQT
#define KEY_LH_C6R5 LSFT
#define KEY_LH_C5R5 Z
#define KEY_LH_C4R5 X
#define KEY_LH_C3R5 C
#define KEY_LH_C2R5 D
#define KEY_LH_C1R5 V
#define KEY_LH_T1 ESC
#define KEY_LH_T2 K_APP
#define KEY_LH_T3 0
#define KEY_RH_T3 0
#define KEY_RH_T2 INSERT
#define KEY_RH_T1 ENTER
#define KEY_RH_C1R5 K
#define KEY_RH_C2R5 H
#define KEY_RH_C3R5 COMMA
#define KEY_RH_C4R5 DOT
#define KEY_RH_C5R5 FSLH
#define KEY_RH_C6R5 RSFT
#define KEY_LH_C6R6 0
#define KEY_LH_C5R6 GRAVE
#define KEY_LH_C4R6 LBKT
#define KEY_LH_C3R6 RBKT
#define KEY_LH_C2R6 LSFT
#define KEY_LH_T4 BACKSPACE
#define KEY_LH_T5 DELETE
#define KEY_LH_T6 0
#define KEY_RH_T6 0
#define KEY_RH_T5 TAB
#define KEY_RH_T4 SPACE
#define KEY_RH_C2R6 RSFT
#define KEY_RH_C3R6 LPAR
#define KEY_RH_C4R6 RPAR
#define KEY_RH_C5R6 BSLH
#define KEY_RH_C6R6 0
#endif
#if defined(LAYER_Canary) && LAYER_Canary == 0
#define KEY_LH_C6R1 UP
#define KEY_LH_C5R1 DOWN
#define KEY_LH_C4R1 A
#define KEY_LH_C3R1 B
#define KEY_LH_C2R1 C
#define KEY_RH_C2R1 D
#define KEY_RH_C3R1 E
#define KEY_RH_C4R1 F
#define KEY_RH_C5R1 LEFT
#define KEY_RH_C6R1 RIGHT
#define KEY_LH_C6R2 EQUAL
#define KEY_LH_C5R2 N1
#define KEY_LH_C4R2 N2
#define KEY_LH_C3R2 N3
#define KEY_LH_C2R2 N4
#define KEY_LH_C1R2 N5
#define KEY_RH_C1R2 N6
#define KEY_RH_C2R2 N7
#define KEY_RH_C3R2 N8
#define KEY_RH_C4R2 N9
#define KEY_RH_C5R2 N0
#define KEY_RH_C6R2 MINUS
#define KEY_LH_C6R3 TAB
#define KEY_LH_C5R3 W
#define KEY_LH_C4R3 L
#define KEY_LH_C3R3 Y
#define KEY_LH_C2R3 P
#define KEY_LH_C1R3 B
#define KEY_RH_C1R3 Z
#define KEY_RH_C2R3 F
#define KEY_RH_C3R3 O
#define KEY_RH_C4R3 U
#define KEY_RH_C5R3 SQT
#define KEY_RH_C6R3 BSLH
#define KEY_LH_C6R4 CAPS
#define KEY_LH_C5R4 C
#define KEY_LH_C4R4 R
#define KEY_LH_C3R4 S
#define KEY_LH_C2R4 T
#define KEY_LH_C1R4 G
#define KEY_RH_C1R4 M
#define KEY_RH_C2R4 N
#define KEY_RH_C3R4 E
#define KEY_RH_C4R4 I
#define KEY_RH_C5R4 A
#define KEY_RH_C6R4 SEMI
#define KEY_LH_C6R5 LSFT
#define KEY_LH_C5R5 Q
#define KEY_LH_C4R5 J
#define KEY_LH_C3R5 V
#define KEY_LH_C2R5 D
#define KEY_LH_C1R5 K
#define KEY_LH_T1 ESC
#define KEY_LH_T2 K_APP
#define KEY_LH_T3 0
#define KEY_RH_T3 0
#define KEY_RH_T2 INSERT
#define KEY_RH_T1 ENTER
#define KEY_RH_C1R5 X
#define KEY_RH_C2R5 H
#define KEY_RH_C3R5 FSLH
#define KEY_RH_C4R5 COMMA
#define KEY_RH_C5R5 DOT
#define KEY_RH_C6R5 RSFT
#define KEY_LH_C6R6 0
#define KEY_LH_C5R6 GRAVE
#define KEY_LH_C4R6 LBKT
#define KEY_LH_C3R6 RBKT
#define KEY_LH_C2R6 LSFT
#define KEY_LH_T4 BACKSPACE
#define KEY_LH_T5 DELETE
#define KEY_LH_T6 0
#define KEY_RH_T6 0
#define KEY_RH_T5 TAB
#define KEY_RH_T4 SPACE
#define KEY_RH_C2R6 RSFT
#define KEY_RH_C3R6 LPAR
#define KEY_RH_C4R6 RPAR
#define KEY_RH_C5R6 BSLH
#define KEY_RH_C6R6 0
#endif

macros {
  //////////////////////////////////////////////////////////////////////////
  //
  // Approximation of Pascal Getreuer's Select Word macro from QMK
  // - https://getreuer.info/posts/keyboards/select-word/index.html
  //
  //////////////////////////////////////////////////////////////////////////

  //
  // SELECT_WORD_DELAY defines how long the macro waits (milliseconds)
  // after moving the cursor before it selects a word.  A larger delay
  // may allow the macro to move to the next word upon each invocation.
  //
  #ifndef SELECT_WORD_DELAY
  #define SELECT_WORD_DELAY 1
  #endif

  #define select_all kp _C(A)

  ZMK_MACRO(select_none,
    wait-ms = <SELECT_WORD_DELAY>;
    tap-ms = <SELECT_WORD_DELAY>;
    bindings = <&kp DOWN &kp UP &kp RIGHT &kp LEFT>;
  )

  //
  // select a word (jumps to next word upon each successive invocation)
  //
  select_word: select_word {
    compatible = "zmk,behavior-mod-morph";
    #binding-cells = <0>;
    bindings = <&select_word_right>, <&select_word_left>;
    mods = <(MOD_LSFT|MOD_RSFT)>;
  };
  ZMK_MACRO(select_word_right,
    wait-ms = <SELECT_WORD_DELAY>;
    tap-ms = <SELECT_WORD_DELAY>;
    bindings = <&kp _W(RIGHT) &kp _W(LEFT) &kp _W(LS(RIGHT))>;
  )
  ZMK_MACRO(select_word_left,
    wait-ms = <SELECT_WORD_DELAY>;
    tap-ms = <SELECT_WORD_DELAY>;
    bindings = <&kp _W(LEFT) &kp _W(RIGHT) &kp _W(LS(LEFT))>;
  )

  //
  // extend current selection by one word
  //
  extend_word: extend_word {
    compatible = "zmk,behavior-mod-morph";
    #binding-cells = <0>;
    bindings = <&extend_word_right>, <&extend_word_left>;
    mods = <(MOD_LSFT|MOD_RSFT)>;
  };
  ZMK_MACRO(extend_word_right,
    wait-ms = <SELECT_WORD_DELAY>;
    tap-ms = <SELECT_WORD_DELAY>;
    bindings = <&kp _W(LS(RIGHT))>;
  )
  ZMK_MACRO(extend_word_left,
    wait-ms = <SELECT_WORD_DELAY>;
    tap-ms = <SELECT_WORD_DELAY>;
    bindings = <&kp _W(LS(LEFT))>;
  )

  //
  // select current line
  //
  select_line: select_line {
    compatible = "zmk,behavior-mod-morph";
    #binding-cells = <0>;
    bindings = <&select_line_right>, <&select_line_left>;
    mods = <(MOD_LSFT|MOD_RSFT)>;
  };
  ZMK_MACRO(select_line_right,
    wait-ms = <SELECT_WORD_DELAY>;
    tap-ms = <SELECT_WORD_DELAY>;
    bindings = <&kp _HOME &kp LS(_END)>;
  )
  ZMK_MACRO(select_line_left,
    wait-ms = <SELECT_WORD_DELAY>;
    tap-ms = <SELECT_WORD_DELAY>;
    bindings = <&kp _END &kp LS(_HOME)>;
  )

  //
  // extend current selection by one line
  //
  extend_line: extend_line {
    compatible = "zmk,behavior-mod-morph";
    #binding-cells = <0>;
    bindings = <&extend_line_right>, <&extend_line_left>;
    mods = <(MOD_LSFT|MOD_RSFT)>;
  };
  ZMK_MACRO(extend_line_right,
    wait-ms = <SELECT_WORD_DELAY>;
    tap-ms = <SELECT_WORD_DELAY>;
    bindings = <&kp LS(DOWN) &kp LS(_END)>;
  )
  ZMK_MACRO(extend_line_left,
    wait-ms = <SELECT_WORD_DELAY>;
    tap-ms = <SELECT_WORD_DELAY>;
    bindings = <&kp LS(UP) &kp LS(_HOME)>;
  )

};
};

/* Generated input processors */


/* Automatically generated macro definitions */
/ {
    macros {

        // Cursor Layer - Extent Line (seq) - TailorKey
        cur_EXTEND_LINE_macos_v1_TKZ: cur_EXTEND_LINE_macos_v1_TKZ {
            label = "&CUR_EXTEND_LINE_MACOS_V1_TKZ";
            compatible = "zmk,behavior-macro";
            #binding-cells = <0>;
            tap-ms = <1>;
            wait-ms = <1>;
            bindings = <&kp LG(LS(RIGHT))>;
        };

        // Cursor Layer - Extend Word (seq) - TailorKey
        cur_EXTEND_WORD_macos_v1_TKZ: cur_EXTEND_WORD_macos_v1_TKZ {
            label = "&CUR_EXTEND_WORD_MACOS_V1_TKZ";
            compatible = "zmk,behavior-macro";
            #binding-cells = <0>;
            tap-ms = <1>;
            wait-ms = <1>;
            bindings = <&kp LA(LS(RIGHT))>;
        };

        // Cursor Layer macos - Select Line (seq) - TailorKey
        cur_SELECT_LINE_macos_v1_TKZ: cur_SELECT_LINE_macos_v1_TKZ {
            label = "&CUR_SELECT_LINE_MACOS_V1_TKZ";
            compatible = "zmk,behavior-macro";
            #binding-cells = <0>;
            tap-ms = <1>;
            wait-ms = <1>;
            bindings = <&kp LG(LEFT)>
                , <&kp LG(LS(RIGHT))>;
        };

        // Cursor Layer - Select None (seq) - TailorKey
        cur_SELECT_NONE_v1_TKZ: cur_SELECT_NONE_v1_TKZ {
            label = "&CUR_SELECT_NONE_V1_TKZ";
            compatible = "zmk,behavior-macro";
            #binding-cells = <0>;
            tap-ms = <1>;
            wait-ms = <1>;
            bindings = <&kp DOWN>
                , <&kp UP>
                , <&kp RIGHT>
                , <&kp LEFT>;
        };

        // Cursor Layer - Select Word (seq) - TailorKey
        cur_SELECT_WORD_macos_v1_TKZ: cur_SELECT_WORD_macos_v1_TKZ {
            label = "&CUR_SELECT_WORD_MACOS_V1_TKZ";
            compatible = "zmk,behavior-macro";
            #binding-cells = <0>;
            tap-ms = <1>;
            wait-ms = <1>;
            bindings = <&kp LA(LEFT)>
                , <&kp LA(LS(RIGHT))>;
        };

        // mod_tab_switcher - TailorKey
        //
        //
        mod_tab_v2_TKZ: mod_tab_v2_TKZ {
            label = "&MOD_TAB_V2_TKZ";
            compatible = "zmk,behavior-macro-one-param";
            #binding-cells = <1>;
            tap-ms = <0>;
            wait-ms = <0>;
            bindings = <&macro_press>
                , <&macro_param_1to1>
                , <&kp MACRO_PLACEHOLDER>
                , <&macro_tap>
                , <&kp TAB>
                , <&macro_pause_for_release>
                , <&macro_release>
                , <&macro_param_1to1>
                , <&kp MACRO_PLACEHOLDER>;
        };

        factorio_quickbar_tap: factorio_quickbar_tap {
            label = "&FACTORIO_QUICKBAR_TAP";
            compatible = "zmk,behavior-macro-two-param";
            #binding-cells = <2>;
            bindings = <&macro_press>
                , <&kp LSHFT>
                , <&macro_tap>
                , <&macro_param_1to1>
                , <&kp MACRO_PLACEHOLDER>
                , <&macro_release>
                , <&macro_tap>
                , <&macro_param_2to1>
                , <&kp MACRO_PLACEHOLDER>
                , <&macro_press>
                , <&kp LSHFT>
                , <&macro_tap>
                , <&kp N1>
                , <&macro_release>;
        };
    };
};

/* Automatically generated behavior definitions */
/ {
    behaviors {


    };
};

/* Automatically generated combos definitions */
/ {
      combos {
          compatible = "zmk,combos";
                  combo_capsword_combo {
            key-positions = <52 57>;
            bindings = <&caps_word>;
        };

        combo_sticky_hyper_combo_left {
            key-positions = <69 52>;
            bindings = <&sk LA(LC(LG(LSHFT)))>;
        };

        combo_sticky_hyper_combo_right {
            key-positions = <57 74>;
            bindings = <&sk RG(RA(RC(RSHFT)))>;
        };

        combo_sticky_meh_combo_left {
            key-positions = <69 70>;
            bindings = <&sk LC(LA(LSHFT))>;
        };

        combo_sticky_meh_combo_right {
            key-positions = <73 74>;
            bindings = <&sk RC(RA(RSHFT))>;
        };

        combo_layer_lower_lock {
            key-positions = <53 70>;
            bindings = <&tog 1>;
            layers = <0 1>;
        };

        combo_layer_symbol_lock {
            key-positions = <73 56>;
            bindings = <&tog 5>;
            layers = <0 5>;
        };

        combo_layer_gaming_lock {
            key-positions = <71 54>;
            bindings = <&tog 6>;
            layers = <0 6 8>;
        };

        combo_sticky_gaming_lock_reverse {
            key-positions = <68 67>;
            bindings = <&sl 8>;
            layers = <6>;
            slow-release;
        };
      };
    };

/* Automatically generated keymap */
/ {
    keymap {
        compatible = "zmk,keymap";


        layer_Base {
            bindings = <
               &kp F1    &kp F2   &kp F3             &kp F4               &kp F5                                                                                                   &kp F6             &kp F7    &kp F8    &kp F9    &kp F10
            &kp EQUAL    &kp N1   &kp N2             &kp N3               &kp N4  &kp N5                                                                            &kp N6         &kp N7             &kp N8    &kp N9    &kp N0  &kp MINUS
              &kp TAB     &kp Q    &kp W              &kp E                &kp R   &kp T                                                                             &kp Y          &kp U              &kp I     &kp O     &kp P   &kp BSLH
              &kp ESC     &kp A    &kp S              &kp D                &kp F   &kp G                                                                             &kp H          &kp J              &kp K     &kp L  &kp SEMI    &kp SQT
            &kp GRAVE     &kp Z    &kp X              &kp C                &kp V   &kp B          &kp LSHFT   &kp LGUI  &kp LCTRL  &kp RCTRL   &kp RGUI  &kp RSHFT   &kp N          &kp M          &kp COMMA   &kp DOT  &kp FSLH  &kp PG_UP
 &magic LAYER_Magic 0  &kp HOME  &kp END  &mt LA(LEFT) LEFT  &mt LA(RIGHT) RIGHT          &mt LA(BSPC) BSPC  &lt 1 DEL   &kp LALT   &kp RALT  &lt 5 RET  &kp SPACE          &mt LA(UP) UP  &mt LA(DOWN) DOWN  &kp LBKT  &kp RBKT  &kp PG_DN
            >;
        };

        layer_Lower {
            bindings = <
         &kp C_BRI_DN           &kp C_BRI_UP              &kp C_PREV        &kp C_NEXT                &kp C_PP                                                                                    &kp C_MUTE  &kp C_VOL_DN  &kp C_VOL_UP            &none  &kp PAUSE_BREAK
               &trans                &kp RET            &kp LG(LBKT)      &kp LG(RBKT)                 &kp DEL     &trans                                                   &kp LEFT_PARENTHESIS  &kp KP_NUM  &kp KP_EQUAL  &kp KP_SLASH  &kp KP_MULTIPLY  &kp PRINTSCREEN
               &trans              &kp SPACE           &kp LS(LG(Z))         &kp LG(Z)                &kp BSPC  &kp LG(X)                                                  &kp RIGHT_PARENTHESIS   &kp KP_N7     &kp KP_N8     &kp KP_N9     &kp KP_MINUS   &kp SCROLLLOCK
               &trans  &mt LG(LS(LBKT)) LEFT  &mt LC(LS(MINUS)) DOWN  &mt LC(MINUS) UP  &mt LG(LS(RBKT)) RIGHT  &kp LG(C)                                                            &kp PERCENT   &kp KP_N4     &kp KP_N5     &kp KP_N6      &kp KP_PLUS         &kp CAPS
               &trans              &kp LG(A)            &select_line      &select_word               &kp LG(F)  &kp LG(V)  &trans  &trans   &to 0  &trans  &trans  &trans              &kp COMMA   &kp KP_N1     &kp KP_N2     &kp KP_N3     &kp KP_ENTER           &trans
 &magic LAYER_Magic 0          &kp LG(LS(G))            &extend_line      &extend_word               &kp LG(G)             &trans  &trans  &trans  &trans  &trans  &trans                          &kp KP_N0    &kp KP_DOT  &kp KP_COMMA     &kp KP_ENTER           &trans
            >;
        };

        layer_Magic {
            bindings = <
  &bt BT_CLR            &none            &none            &none            &none                                                                                  &none   &none   &none   &none  &bt BT_CLR_ALL
       &none            &none            &none            &none            &none            &none                                                         &none   &none   &none   &none   &none           &none
       &none  &rgb_ug RGB_SPI  &rgb_ug RGB_SAI  &rgb_ug RGB_HUI  &rgb_ug RGB_BRI  &rgb_ug RGB_TOG                                                         &none   &none   &none   &none   &none           &none
 &bootloader  &rgb_ug RGB_SPD  &rgb_ug RGB_SAD  &rgb_ug RGB_HUD  &rgb_ug RGB_BRD  &rgb_ug RGB_EFF                                                         &none   &none   &none   &none   &none     &bootloader
  &sys_reset            &none            &none            &none            &none            &none   &bt_2   &bt_3         &none   &none   &none   &none   &none   &none   &none   &none   &none      &sys_reset
       &none            &none            &none            &none            &none                    &bt_0   &bt_1  &out OUT_USB   &none   &none   &none           &none   &none   &none   &none           &none
            >;
        };

        layer_Cursor_macos {
            bindings = <
     &none          &none                          &none                    &kp LS(TAB)    &kp TAB                                                                                                                                         &kp TAB    &kp LS(TAB)          &none      &none      &none
     &none        &kp RET                        &kp TAB                      &kp SPACE    &kp DEL    &kp INS                                                                                                                   &kp INS    &kp DEL      &kp SPACE        &kp TAB    &kp RET      &none
     &none        &kp ESC                  &kp LG(LS(Z))                      &kp LG(Z)   &kp BSPC  &kp LG(X)                                                                                                                 &kp LG(X)   &kp BSPC      &kp LG(Z)  &kp LG(LS(Z))    &kp ESC      &none
 &sk LSHFT      &kp LCTRL                       &kp LALT                       &kp LGUI  &kp LSHFT  &kp LG(C)                                                                                                                 &kp LG(C)   &kp LEFT         &kp UP       &kp DOWN  &kp RIGHT  &sk RSHFT
 &kp LG(L)      &kp LG(A)  &cur_SELECT_LINE_macos_v1_TKZ  &cur_SELECT_WORD_macos_v1_TKZ  &kp LG(F)  &kp LG(V)  &trans  &trans  &trans  &cur_SELECT_NONE_v1_TKZ  &cur_EXTEND_LINE_macos_v1_TKZ  &cur_EXTEND_WORD_macos_v1_TKZ  &kp LG(V)   &kp HOME      &kp PG_UP      &kp PG_DN    &kp END  &kp LG(L)
 &kp LG(K)  &kp LG(LS(G))  &cur_EXTEND_LINE_macos_v1_TKZ  &cur_EXTEND_WORD_macos_v1_TKZ  &kp LG(G)             &trans  &trans  &trans                &kp LG(A)  &cur_SELECT_LINE_macos_v1_TKZ  &cur_SELECT_WORD_macos_v1_TKZ             &kp LG(F)  &kp LG(LS(G))      &kp LG(G)  &kp LC(H)  &kp LG(K)
            >;
        };

        layer_Mouse_macos {
            bindings = <
 &trans          &trans          &trans          &trans           &trans                                                                                        &trans        &trans          &trans           &trans  &trans
 &trans          &trans          &trans          &trans           &trans     &trans                                                             &trans       &sk LSHFT      &sk LGUI        &sk LALT        &sk LCTRL  &trans
 &trans          &trans  &msc SCRL_LEFT    &mmv MOVE_UP  &msc SCRL_RIGHT  &kp LG(X)                                                          &kp LG(X)       &mkp LCLK     &mkp RCLK       &mkp MCLK         &mkp MB4  &trans
 &trans    &msc SCRL_UP  &mmv MOVE_LEFT  &mmv MOVE_DOWN  &mmv MOVE_RIGHT  &kp LG(C)                                                          &kp LG(C)           &none         &none           &none         &mkp MB5  &trans
 &trans  &msc SCRL_DOWN           &none           &none            &none  &kp LG(V)  &mkp MCLK  &kp K_APP  &mkp MB5  &trans  &trans  &trans  &kp LG(V)  &mmv MOVE_LEFT  &mmv MOVE_UP  &mmv MOVE_DOWN  &mmv MOVE_RIGHT  &trans
 &trans          &trans          &trans          &trans           &trans             &mkp LCLK  &mkp RCLK  &mkp MB4  &trans  &trans  &trans             &msc SCRL_LEFT  &msc SCRL_UP  &msc SCRL_DOWN  &msc SCRL_RIGHT  &trans
            >;
        };

        layer_Symbol {
            bindings = <
    &trans     &trans     &trans     &trans    &trans                                                                                   &trans         &trans             &trans               &trans  &trans
    &trans  &kp COMMA   &kp LPAR   &kp RPAR  &kp SEMI    &kp DOT                                                     &trans          &sk RSHFT       &sk RGUI           &sk RALT            &sk RCTRL  &trans
  &kp EXCL   &kp LBKT   &kp LBRC   &kp RBRC  &kp RBKT  &kp QMARK                                                  &kp GRAVE           &kp BSPC        &kp DEL            &kp RET            &kp SPACE  &trans
  &kp HASH  &kp CARET  &kp EQUAL  &kp UNDER  &kp DLLR   &kp STAR                                                    &kp DQT  &mt RA(LEFT) LEFT  &mt RA(UP) UP  &mt RA(DOWN) DOWN  &mt RA(RIGHT) RIGHT  &trans
 &kp TILDE     &kp LT   &kp PIPE  &kp MINUS    &kp GT   &kp FSLH  &trans  &trans  &trans  &trans  &trans  &trans    &kp SQT             &trans         &trans             &trans               &trans  &trans
 &kp GRAVE   &kp AMPS    &kp SQT    &kp DQT  &kp PLUS             &trans  &trans  &trans  &trans  &trans  &trans                        &trans         &trans             &trans               &trans  &trans
            >;
        };

        layer_Gaming {
            bindings = <
               &kp N6    &kp N7   &kp N8    &kp N9     &kp N0                                                                                      &kp F6     &kp F7    &kp F8    &kp F9    &kp F10
            &kp EQUAL    &kp N1   &kp N2    &kp N3     &kp N4  &kp N5                                                                      &kp N6  &kp N7     &kp N8    &kp N9    &kp N0  &kp MINUS
              &kp TAB     &kp Q    &kp W     &kp E      &kp R   &kp T                                                                       &kp Y   &kp U      &kp I     &kp O     &kp P   &kp BSLH
              &kp ESC     &kp A    &kp S     &kp D      &kp F   &kp G                                                                       &kp H   &kp J      &kp K     &kp L  &kp SEMI    &kp SQT
            &kp GRAVE     &kp Z    &kp X     &kp C      &kp V   &kp B  &kp LSHFT     &kp LGUI  &kp LCTRL  &kp RCTRL   &kp RGUI  &kp RSHFT   &kp N   &kp M  &kp COMMA   &kp DOT  &kp FSLH  &kp PG_UP
 &magic LAYER_Magic 0  &kp HOME  &kp END  &kp LEFT  &kp RIGHT           &kp BSPC  &lt 7 SPACE   &kp LALT   &kp RALT  &lt 5 RET  &kp SPACE          &kp UP   &kp DOWN  &kp LBKT  &kp RBKT  &kp PG_DN
            >;
        };

        layer_GamingLower {
            bindings = <
         &kp C_BRI_DN           &kp C_BRI_UP              &kp C_PREV        &kp C_NEXT                &kp C_PP                                                                                    &kp C_MUTE  &kp C_VOL_DN  &kp C_VOL_UP            &none  &kp PAUSE_BREAK
               &trans                &kp RET            &kp LG(LBKT)      &kp LG(RBKT)                 &kp DEL     &trans                                                   &kp LEFT_PARENTHESIS  &kp KP_NUM  &kp KP_EQUAL  &kp KP_SLASH  &kp KP_MULTIPLY  &kp PRINTSCREEN
               &trans              &kp SPACE           &kp LS(LG(Z))         &kp LG(Z)                &kp BSPC  &kp LG(X)                                                  &kp RIGHT_PARENTHESIS   &kp KP_N7     &kp KP_N8     &kp KP_N9     &kp KP_MINUS   &kp SCROLLLOCK
               &trans  &mt LG(LS(LBKT)) LEFT  &mt LC(LS(MINUS)) DOWN  &mt LC(MINUS) UP  &mt LG(LS(RBKT)) RIGHT  &kp LG(C)                                                            &kp PERCENT   &kp KP_N4     &kp KP_N5     &kp KP_N6      &kp KP_PLUS         &kp CAPS
               &trans              &kp LG(A)            &select_line      &select_word               &kp LG(F)  &kp LG(V)  &trans  &trans   &to 6  &trans  &trans  &trans              &kp COMMA   &kp KP_N1     &kp KP_N2     &kp KP_N3     &kp KP_ENTER           &trans
 &magic LAYER_Magic 0          &kp LG(LS(G))            &extend_line      &extend_word               &kp LG(G)             &trans  &trans  &trans  &trans  &trans  &trans                          &kp KP_N0    &kp KP_DOT  &kp KP_COMMA     &kp KP_ENTER           &trans
            >;
        };

        layer_GamingReverse {
            bindings = <
 &kp F1    &kp F2   &kp F3     &kp F4    &kp F5                                                                  &trans  &trans  &trans  &trans  &trans
 &trans    &kp N6   &kp N7     &kp N8    &kp N9  &kp N0                                                  &trans  &trans  &trans  &trans  &trans  &trans
 &trans     &kp P    &kp O      &kp I     &kp U   &kp Y                                                  &trans  &trans  &trans  &trans  &trans  &trans
 &trans  &kp SEMI    &kp L      &kp K     &kp J   &kp H                                                  &trans  &trans  &trans  &trans  &trans  &trans
 &trans  &kp FSLH  &kp DOT  &kp COMMA     &kp M   &kp N  &trans  &trans  &trans  &trans  &trans  &trans  &trans  &trans  &trans  &trans  &trans  &trans
 &trans    &trans   &trans     &kp UP  &kp DOWN          &trans  &trans  &trans  &trans  &trans  &trans          &trans  &trans  &trans  &trans  &trans
            >;
        };

    };
};
